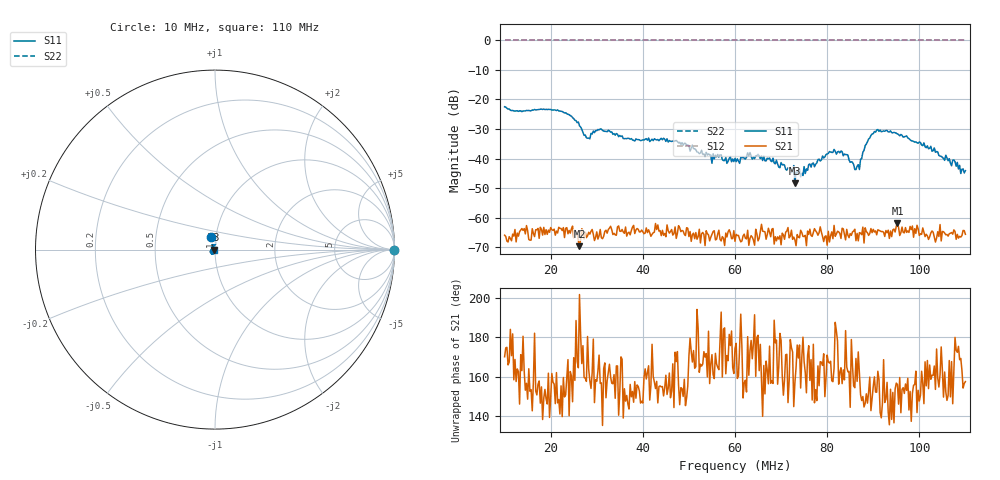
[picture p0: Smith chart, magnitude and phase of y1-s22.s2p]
! Anritsu VNA Master:  Model: MS2034B/10/19/501
! SN:  1337062
! /bd0/ovro-jan-2016/y1-s22.s2p
! Existing Calibration Information:
! TYPE:  Current Settings,  Active Cal Settings
! TIME:  01/08/2016 01:45:44 PM,  01/08/2016 01:28:30 PM
! INTERNAL TEMP:  47.3 C,  48.5 C
! # POINTS:  401,  401
! START FREQ:  10.000 MHz,  10.000 MHz
! STOP FREQ:  110.000 MHz,  110.000 MHz
! SOURCE POWER:  Low,  Low
! IFBW:  100 Hz,  100 Hz
! AVG FACTOR:  1 ,  1
! REF PLANE 1:  0 mm,  0 mm
! REF PLANE 2:  0 mm,  0 mm
! CAL TYPE:  Full S11,  Full S11
! CAL METHOD:  SOLT,  SOLT
! CAL LINE TYPE:  Coax,  Coax
! DUT PORT 1:  K-Conn(M),  K-Conn(M)
! DUT PORT 2:  N-Conn(M),  N-Conn(M)
! CAL STATUS:  OK: Accuracy High,  --
# GHZ S DB R 50.0
! FREQ.GHZ  S11DB  S11A  S21DB  S21A  S12DB  S12A  S22DB  S22A
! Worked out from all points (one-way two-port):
!   401 points, 10 MHz to 110 MHz, reference 50 ohm
!   highest |S21| = -61.80 dB at 95.25 MHz (marker M1); lowest = -69.7 dB at 26.25 MHz (marker M2)
!   lowest |S11| = -48.3 dB at 73 MHz (marker M3), VSWR 1.01, Z = 49.6 - j0.089 ohm
!   |S11| at or under -10 dB: start of sweep to end of sweep
!   |S22| runs from 0.0 to 0.0 dB; largest |S21 - S12| = 1
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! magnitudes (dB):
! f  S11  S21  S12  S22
! 10 MHz  -22.4  -66.0  0.0  0.0
! 22 MHz  -23.9  -63.7  0.0  0.0
! 26.25 MHz  -28.9  -69.7  0.0  0.0
! 26.75 MHz  -30.1  -63.8  0.0  0.0
! 28 MHz  -33.1  -66.2  0.0  0.0
! 30.75 MHz  -30.0  -64.0  0.0  0.0
! 32.75 MHz  -30.6  -63.6  0.0  0.0
! 43.5 MHz  -34.0  -64.6  0.0  0.0
! 60 MHz  -40.0  -68.1  0.0  0.0
! 65.25 MHz  -39.2  -67.0  0.0  0.0
! 69.5 MHz  -42.9  -67.3  0.0  0.0
! 71.75 MHz  -43.2  -66.9  0.0  0.0
! 73 MHz  -48.3  -67.5  0.0  0.0
! 76.75 MHz  -41.8  -66.4  0.0  0.0
! 79.5 MHz  -39.5  -66.4  0.0  0.0
! 82.75 MHz  -38.1  -65.4  0.0  0.0
! 86.5 MHz  -42.6  -65.4  0.0  0.0
! 89.75 MHz  -31.7  -65.1  0.0  0.0
! 93.5 MHz  -31.0  -67.1  0.0  0.0
! 95.25 MHz  -31.7  -61.8  0.0  0.0
! 101.8 MHz  -35.7  -66.2  0.0  0.0
! 110 MHz  -44.1  -65.7  0.0  0.0
